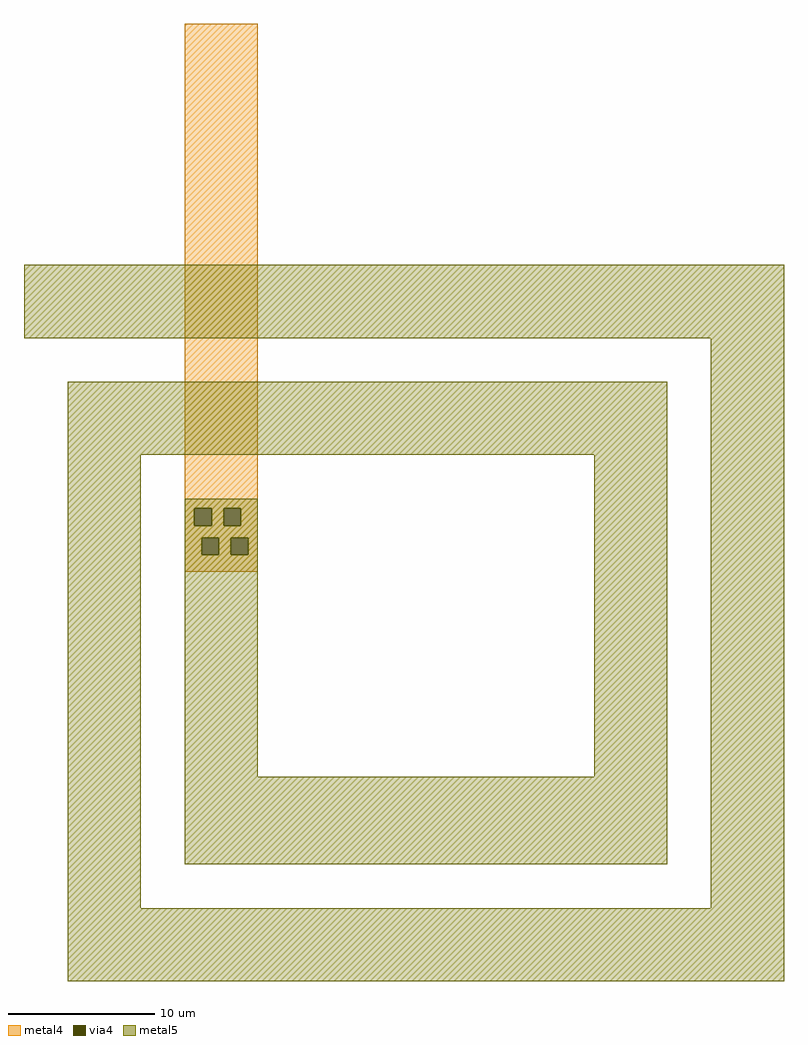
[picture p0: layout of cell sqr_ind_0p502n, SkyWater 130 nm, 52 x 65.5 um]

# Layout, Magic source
magic
tech sky130A
magscale 1 2
<< metal4 >>
rect 3400 -5532 4400 1099
rect 3400 -5768 3532 -5532
rect 3768 -5768 3932 -5532
rect 4168 -5768 4400 -5532
rect 3400 -5932 4400 -5768
rect 3400 -6168 3632 -5932
rect 3868 -6168 4032 -5932
rect 4268 -6168 4400 -5932
rect 3400 -6400 4400 -6168
<< via4 >>
rect 3532 -5768 3768 -5532
rect 3932 -5768 4168 -5532
rect 3632 -6168 3868 -5932
rect 4032 -6168 4268 -5932
<< metal5 >>
rect 1200 -3200 11600 -2200
rect 1800 -4800 10000 -3800
rect 1800 -11000 2800 -4800
rect 3400 -5532 4400 -5400
rect 3400 -5768 3532 -5532
rect 3768 -5768 3932 -5532
rect 4168 -5768 4400 -5532
rect 3400 -5932 4400 -5768
rect 3400 -6168 3632 -5932
rect 3868 -6168 4032 -5932
rect 4268 -6168 4400 -5932
rect 3400 -9200 4400 -6168
rect 9000 -9200 10000 -4800
rect 3400 -10400 10000 -9200
rect 10600 -11000 11600 -3200
rect 1800 -12000 11600 -11000
<< end >>
